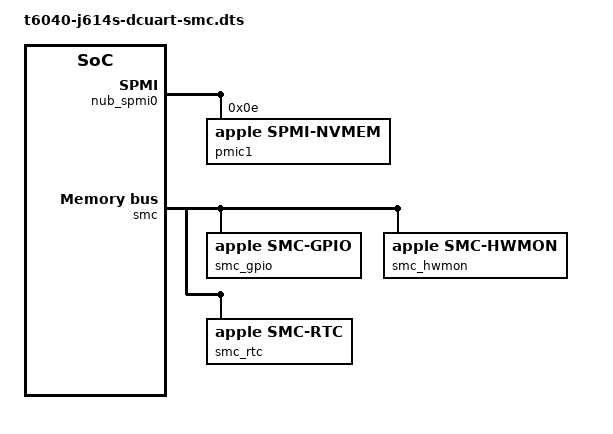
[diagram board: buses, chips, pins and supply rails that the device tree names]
// SPDX-License-Identifier: GPL-2.0+ OR MIT
/*
 * J614s DockChannel console + macsmc (ticket 061, "U4"). Adds the SMC RTKit
 * endpoint (battery/thermal) plus, per CJ's 2026-07-24 ruling, the reboot/RTC
 * nvram path.
 *
 * SMC data from the live J614s ADT /arm-io/smc (iop,ascwrap-v6) via m1n1 adt.py
 * (evidence/2026-07-23-t6040-smc-adt-data.md): ascwrap base 0x30c600000; ASC IRQs
 * 997/996/999/998; iop-smc-nub region-base 0x50df00000/0x100000 (RTKit SRAM);
 * smc-pmu events pwrbtn=0, lid=8. ASC reg split follows the upstream convention
 * (smc @ base+0x0, mailbox @ base+0x8000, each 0x4000).
 *
 * SAFETY / CJ ruling 2026-07-24: smc_reboot (boot_stage/shutdown_flag) and
 * smc_rtc (rtc_offset) are ALLOWED — they write boot-policy/clock nvram cells
 * via the SMC/abbey-PMIC, which pose NO threat to physical integrity (they are
 * not charger current/voltage, PMU rails, or thermal limits, and are what macOS
 * writes every boot; a wrong value is boot-policy only, recoverable via 1TR/DFU).
 * STILL FORBIDDEN and NOT wired: smc-charger-util (charge control) and any
 * PMU/SPMI voltage-rail write.
 *
 * GROUNDED-WITH-FLAGS (confirm on an M4/abbey reference before upstreaming):
 *  - SPMI controller reg 0x309014000/0x4000 (nub-spmi0; the +0x14000 command
 *    window, matching t8112's +0x714000 pattern — one of three ADT windows).
 *  - abbey PMIC at SPMI USID 0xe (same USID as t8112 stowe; ADT-confirmed).
 *  - nvmem cell offsets (f701/f702/f703/f70f/f801/f900) are the STABLE Apple
 *    SMC-nvram layout, byte-identical t8103->t8112; inherited for abbey. The
 *    generic apple,spmi-nvmem provider needs no abbey-specific PMIC driver.
 *  - sram = the iop-smc-nub RAM carveout (0x50df00000), not an MMIO aperture.
 *  - mailbox +0x8000 sub-offset and the power-button/lid smc-pmu path (see doc).
 */
/dts-v1/;

#include <dt-bindings/spmi/spmi.h>
#include "t6040-j614s-dcuart.dts"

&soc {
	nub_spmi0: spmi@309014000 {
		compatible = "apple,t6000-spmi", "apple,spmi";
		reg = <0x3 0x09014000 0x0 0x4000>;
		#address-cells = <2>;
		#size-cells = <0>;

		pmic1: pmic@e {
			compatible = "apple,spmi-nvmem";
			reg = <0xe SPMI_USID>;

			nvmem-layout {
				compatible = "fixed-layout";
				#address-cells = <1>;
				#size-cells = <1>;

				boot_stage: boot-stage@f701 {
					reg = <0xf701 0x1>;
				};
				boot_error_count: boot-error-count@f702,0 {
					reg = <0xf702 0x1>;
					bits = <0 4>;
				};
				panic_count: panic-count@f702,4 {
					reg = <0xf702 0x1>;
					bits = <4 4>;
				};
				boot_error_stage: boot-error-stage@f703 {
					reg = <0xf703 0x1>;
				};
				shutdown_flag: shutdown-flag@f70f,3 {
					reg = <0xf70f 0x1>;
					bits = <3 1>;
				};
				pm_setting: pm-setting@f801 {
					reg = <0xf801 0x1>;
				};
				rtc_offset: rtc-offset@f900 {
					reg = <0xf900 0x6>;
				};
			};
		};
	};

	smc_mbox: mbox@30c608000 {
		compatible = "apple,t6040-asc-mailbox", "apple,asc-mailbox-v4";
		reg = <0x3 0x0c608000 0x0 0x4000>;
		interrupt-parent = <&aic>;
		interrupts = <AIC_IRQ 997 IRQ_TYPE_LEVEL_HIGH>,
			     <AIC_IRQ 996 IRQ_TYPE_LEVEL_HIGH>,
			     <AIC_IRQ 999 IRQ_TYPE_LEVEL_HIGH>,
			     <AIC_IRQ 998 IRQ_TYPE_LEVEL_HIGH>;
		interrupt-names = "send-empty", "send-not-empty",
				  "recv-empty", "recv-not-empty";
		#mbox-cells = <0>;
	};

	smc: smc@30c600000 {
		compatible = "apple,t6040-smc", "apple,smc";
		reg = <0x3 0x0c600000 0x0 0x4000>,
		      <0x5 0x0df00000 0x0 0x100000>;
		reg-names = "smc", "sram";
		mboxes = <&smc_mbox>;

		smc_gpio: gpio {
			compatible = "apple,smc-gpio";
			gpio-controller;
			#gpio-cells = <2>;
		};

		smc_hwmon: hwmon {
			compatible = "apple,smc-hwmon";
		};

		smc_rtc: rtc {
			compatible = "apple,smc-rtc";
			nvmem-cells = <&rtc_offset>;
			nvmem-cell-names = "rtc_offset";
		};

		smc_reboot: reboot {
			compatible = "apple,smc-reboot";
			nvmem-cells = <&shutdown_flag>, <&boot_stage>,
				      <&boot_error_count>, <&panic_count>;
			nvmem-cell-names = "shutdown_flag", "boot_stage",
					   "boot_error_count", "panic_count";
		};
		/* No smc-charger-util / PMU voltage-rail writes (forbidden). */
	};
};
